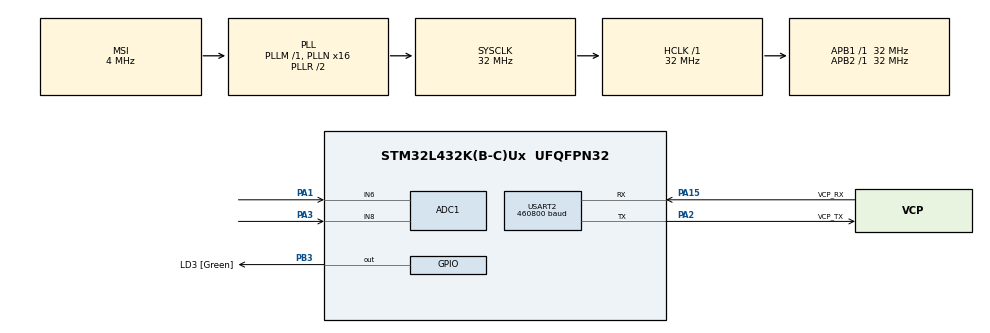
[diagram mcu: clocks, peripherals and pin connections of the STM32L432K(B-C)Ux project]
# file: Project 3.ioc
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ADC1.Channel-3\#ChannelRegularConversion=ADC_CHANNEL_6
ADC1.Channel-4\#ChannelRegularConversion=ADC_CHANNEL_8
ADC1.DMAContinuousRequests=ENABLE
ADC1.EnableAnalogWatchDog1=false
ADC1.EnableInjectedConversion=DISABLE
ADC1.EnableRegularConversion=ENABLE
ADC1.ExternalTrigConv=ADC_EXTERNALTRIG_T2_TRGO
ADC1.NbrOfConversion=2
ADC1.NbrOfConversionFlag=1
ADC1.OffsetNumber-3\#ChannelRegularConversion=ADC_OFFSET_NONE
ADC1.OffsetNumber-4\#ChannelRegularConversion=ADC_OFFSET_NONE
ADC1.OversamplingMode=ENABLE
ADC1.Rank-3\#ChannelRegularConversion=1
ADC1.Rank-4\#ChannelRegularConversion=2
ADC1.Ratio=ADC_OVERSAMPLING_RATIO_256
ADC1.RightBitShift=ADC_RIGHTBITSHIFT_4
ADC1.SamplingTime-3\#ChannelRegularConversion=ADC_SAMPLETIME_47CYCLES_5
ADC1.SamplingTime-4\#ChannelRegularConversion=ADC_SAMPLETIME_47CYCLES_5
ADC1.master=1
Dma.ADC1.0.Direction=DMA_PERIPH_TO_MEMORY
Dma.ADC1.0.Instance=DMA1_Channel1
Dma.ADC1.0.MemDataAlignment=DMA_MDATAALIGN_HALFWORD
Dma.ADC1.0.MemInc=DMA_MINC_ENABLE
Dma.ADC1.0.Mode=DMA_CIRCULAR
Dma.ADC1.0.PeriphDataAlignment=DMA_PDATAALIGN_HALFWORD
Dma.ADC1.0.PeriphInc=DMA_PINC_DISABLE
Dma.ADC1.0.Priority=DMA_PRIORITY_LOW
Dma.Request0=ADC1
Dma.Request1=USART2_TX
Dma.USART2_TX.1.Direction=DMA_MEMORY_TO_PERIPH
Dma.USART2_TX.1.Instance=DMA1_Channel7
Dma.USART2_TX.1.MemDataAlignment=DMA_MDATAALIGN_BYTE
Dma.USART2_TX.1.MemInc=DMA_MINC_ENABLE
Dma.USART2_TX.1.Mode=DMA_NORMAL
Dma.USART2_TX.1.PeriphDataAlignment=DMA_PDATAALIGN_BYTE
Dma.USART2_TX.1.PeriphInc=DMA_PINC_DISABLE
Dma.USART2_TX.1.Priority=DMA_PRIORITY_LOW
Mcu.Family=STM32L4
Mcu.Name=STM32L432K(B-C)Ux
Mcu.Package=UFQFPN32
NVIC.DMA1_Channel1_IRQn=true\:0\:0\:false\:false\:true\:false\:true\:true
NVIC.DMA1_Channel7_IRQn=true\:0\:0\:false\:false\:true\:false\:true\:true
NVIC.PriorityGroup=NVIC_PRIORITYGROUP_4
PA0.GPIO_Label=MCO [High speed clock in]
PA0.Mode=HSE-External-Clock-Source-for-LittleOrca
PA0.Signal=RCC_CK_IN
PA1.Signal=ADCx_IN6
PA13\ (JTMS-SWDIO).GPIO_Label=SWDIO
PA13\ (JTMS-SWDIO).Mode=Serial_Wire
PA13\ (JTMS-SWDIO).Signal=SYS_JTMS-SWDIO
PA14\ (JTCK-SWCLK).GPIO_Label=SWCLK
PA14\ (JTCK-SWCLK).Mode=Serial_Wire
PA14\ (JTCK-SWCLK).Signal=SYS_JTCK-SWCLK
PA15\ (JTDI).GPIO_Label=VCP_RX
PA15\ (JTDI).Mode=Asynchronous
PA15\ (JTDI).Signal=USART2_RX
PA2.GPIO_Label=VCP_TX
PA2.Mode=Asynchronous
PA2.Signal=USART2_TX
PA3.Signal=ADCx_IN8
PB3\ (JTDO-TRACESWO).GPIO_Label=LD3 [Green]
PB3\ (JTDO-TRACESWO).Signal=GPIO_Output
PC14-OSC32_IN\ (PC14).Mode=LSE-External-Oscillator
PC14-OSC32_IN\ (PC14).Signal=RCC_OSC32_IN
PC15-OSC32_OUT\ (PC15).Mode=LSE-External-Oscillator
PC15-OSC32_OUT\ (PC15).Signal=RCC_OSC32_OUT
ProjectManager.HeapSize=0x200
ProjectManager.StackSize=0x400
ProjectManager.TargetToolchain=STM32CubeIDE
RCC.ADCFreq_Value=32000000
RCC.AHBFreq_Value=32000000
RCC.APB1Freq_Value=32000000
RCC.APB1TimFreq_Value=32000000
RCC.APB2Freq_Value=32000000
RCC.APB2TimFreq_Value=32000000
RCC.CortexFreq_Value=32000000
RCC.HCLKFreq_Value=32000000
RCC.HSE_VALUE=8000000
RCC.HSI16_VALUE=16000000
RCC.HSI48_VALUE=48000000
RCC.HSI_VALUE=16000000
RCC.MSI_VALUE=4000000
RCC.PLLMUL=RCC_PLLMUL_4
RCC.PLLN=16
RCC.PLLSAI1N=16
RCC.SYSCLKFreq_VALUE=32000000
RCC.SYSCLKSource=RCC_SYSCLKSOURCE_PLLCLK
RCC.USBFreq_Value=32000000
RCC.VCOOutputFreq_Value=64000000
SH.ADCx_IN6.0=ADC1_IN6,IN6-Single-Ended
SH.ADCx_IN8.0=ADC1_IN8,IN8-Single-Ended
TIM2.Period=999
TIM2.Prescaler=31
TIM2.TIM_MasterOutputTrigger=TIM_TRGO_UPDATE
USART2.BaudRate=460800
USART2.VirtualMode-Asynchronous=VM_ASYNC
VP_TIM2_VS_ClockSourceINT.Mode=Internal
board=NUCLEO-L432KC

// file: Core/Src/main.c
/* USER CODE BEGIN Header */
/**
  ******************************************************************************
  * @file           : main.c
  * @brief          : Main program body
  ******************************************************************************
  * @attention
  *
  * Copyright (c) 2026 STMicroelectronics.
  * All rights reserved.
  *
  * This software is licensed under terms that can be found in the LICENSE file
  * in the root directory of this software component.
  * If no LICENSE file comes with this software, it is provided AS-IS.
  *
  ******************************************************************************
  */
/* USER CODE END Header */
#include "main.h"

/* USER CODE BEGIN Includes */
#include <stdio.h>
#include <string.h>
/* USER CODE END Includes */

ADC_HandleTypeDef hadc1;
DMA_HandleTypeDef hdma_adc1;

TIM_HandleTypeDef htim2;

UART_HandleTypeDef huart2;
DMA_HandleTypeDef hdma_usart2_tx;

/* USER CODE BEGIN PV */
#define ADC_CHANNELS   2u
#define DECIMATE       10u   /* 1 kHz hardware rate -> 100 Hz emit rate */

static volatile uint16_t g_adc_dma[ADC_CHANNELS];
static volatile uint32_t g_sample_idx = 0;
static volatile uint8_t  g_tx_busy    = 0;
static char              g_tx_line[48];
/* USER CODE END PV */

void SystemClock_Config(void);
static void MX_GPIO_Init(void);
static void MX_DMA_Init(void);
static void MX_USART2_UART_Init(void);
static void MX_ADC1_Init(void);
static void MX_TIM2_Init(void);

int main(void)
{

  /* MCU Configuration--------------------------------------------------------*/

  /* Reset of all peripherals, Initializes the Flash interface and the Systick. */
  HAL_Init();

  /* Configure the system clock */
  SystemClock_Config();

  /* Initialize all configured peripherals */
  MX_GPIO_Init();
  MX_DMA_Init();
  MX_USART2_UART_Init();
  MX_ADC1_Init();
  MX_TIM2_Init();
  /* USER CODE BEGIN 2 */
  HAL_NVIC_SetPriority(USART2_IRQn, 0, 0);
  HAL_NVIC_EnableIRQ(USART2_IRQn);

  HAL_ADC_Start_DMA(&hadc1, (uint32_t *)g_adc_dma, ADC_CHANNELS);
  HAL_TIM_Base_Start(&htim2);

  const char *boot = "STM32_READY|S1:0000|S2:0000\n";
  HAL_UART_Transmit(&huart2, (uint8_t *)boot, strlen(boot), HAL_MAX_DELAY);
  /* USER CODE END 2 */

  /* Infinite loop */
  while (1)
  {

  }
}

void SystemClock_Config(void)
{
  RCC_OscInitTypeDef RCC_OscInitStruct = {0};
  RCC_ClkInitTypeDef RCC_ClkInitStruct = {0};

  /** Configure the main internal regulator output voltage
  */
  if (HAL_PWREx_ControlVoltageScaling(PWR_REGULATOR_VOLTAGE_SCALE1) != HAL_OK)
  {
    Error_Handler();
  }

  /** Configure LSE Drive Capability
  */
  HAL_PWR_EnableBkUpAccess();
  __HAL_RCC_LSEDRIVE_CONFIG(RCC_LSEDRIVE_LOW);

  /** Initializes the RCC Oscillators according to the specified parameters
  * in the RCC_OscInitTypeDef structure.
  */
  RCC_OscInitStruct.OscillatorType = RCC_OSCILLATORTYPE_LSE|RCC_OSCILLATORTYPE_MSI;
  RCC_OscInitStruct.LSEState = RCC_LSE_ON;
  RCC_OscInitStruct.MSIState = RCC_MSI_ON;
  RCC_OscInitStruct.MSICalibrationValue = 0;
  RCC_OscInitStruct.MSIClockRange = RCC_MSIRANGE_6;
  RCC_OscInitStruct.PLL.PLLState = RCC_PLL_ON;
  RCC_OscInitStruct.PLL.PLLSource = RCC_PLLSOURCE_MSI;
  RCC_OscInitStruct.PLL.PLLM = 1;
  RCC_OscInitStruct.PLL.PLLN = 16;
  RCC_OscInitStruct.PLL.PLLP = RCC_PLLP_DIV7;
  RCC_OscInitStruct.PLL.PLLQ = RCC_PLLQ_DIV2;
  RCC_OscInitStruct.PLL.PLLR = RCC_PLLR_DIV2;
  if (HAL_RCC_OscConfig(&RCC_OscInitStruct) != HAL_OK)
  {
    Error_Handler();
  }

  /** Initializes the CPU, AHB and APB buses clocks
  */
  RCC_ClkInitStruct.ClockType = RCC_CLOCKTYPE_HCLK|RCC_CLOCKTYPE_SYSCLK
                              |RCC_CLOCKTYPE_PCLK1|RCC_CLOCKTYPE_PCLK2;
  RCC_ClkInitStruct.SYSCLKSource = RCC_SYSCLKSOURCE_PLLCLK;
  RCC_ClkInitStruct.AHBCLKDivider = RCC_SYSCLK_DIV1;
  RCC_ClkInitStruct.APB1CLKDivider = RCC_HCLK_DIV1;
  RCC_ClkInitStruct.APB2CLKDivider = RCC_HCLK_DIV1;

  if (HAL_RCC_ClockConfig(&RCC_ClkInitStruct, FLASH_LATENCY_1) != HAL_OK)
  {
    Error_Handler();
  }

  /** Enable MSI Auto calibration
  */
  HAL_RCCEx_EnableMSIPLLMode();
}

static void MX_ADC1_Init(void)
{

  ADC_ChannelConfTypeDef sConfig = {0};

  /** Common config
  */
  hadc1.Instance = ADC1;
  hadc1.Init.ClockPrescaler = ADC_CLOCK_ASYNC_DIV1;
  hadc1.Init.Resolution = ADC_RESOLUTION_12B;
  hadc1.Init.DataAlign = ADC_DATAALIGN_RIGHT;
  hadc1.Init.ScanConvMode = ADC_SCAN_ENABLE;
  hadc1.Init.EOCSelection = ADC_EOC_SINGLE_CONV;
  hadc1.Init.LowPowerAutoWait = DISABLE;
  hadc1.Init.ContinuousConvMode = DISABLE;
  hadc1.Init.NbrOfConversion = 2;
  hadc1.Init.DiscontinuousConvMode = DISABLE;
  hadc1.Init.ExternalTrigConv = ADC_EXTERNALTRIG_T2_TRGO;
  hadc1.Init.ExternalTrigConvEdge = ADC_EXTERNALTRIGCONVEDGE_RISING;
  hadc1.Init.DMAContinuousRequests = ENABLE;
  hadc1.Init.Overrun = ADC_OVR_DATA_PRESERVED;
  hadc1.Init.OversamplingMode = ENABLE;
  hadc1.Init.Oversampling.Ratio = ADC_OVERSAMPLING_RATIO_256;
  hadc1.Init.Oversampling.RightBitShift = ADC_RIGHTBITSHIFT_4;
  hadc1.Init.Oversampling.TriggeredMode = ADC_TRIGGEREDMODE_SINGLE_TRIGGER;
  hadc1.Init.Oversampling.OversamplingStopReset = ADC_REGOVERSAMPLING_CONTINUED_MODE;
  if (HAL_ADC_Init(&hadc1) != HAL_OK)
  {
    Error_Handler();
  }

  /** Configure Regular Channel
  */
  sConfig.Channel = ADC_CHANNEL_6;
  sConfig.Rank = ADC_REGULAR_RANK_1;
  sConfig.SamplingTime = ADC_SAMPLETIME_47CYCLES_5;
  sConfig.SingleDiff = ADC_SINGLE_ENDED;
  sConfig.OffsetNumber = ADC_OFFSET_NONE;
  sConfig.Offset = 0;
  if (HAL_ADC_ConfigChannel(&hadc1, &sConfig) != HAL_OK)
  {
    Error_Handler();
  }

  /** Configure Regular Channel
  */
  sConfig.Channel = ADC_CHANNEL_8;
  sConfig.Rank = ADC_REGULAR_RANK_2;
  if (HAL_ADC_ConfigChannel(&hadc1, &sConfig) != HAL_OK)
  {
    Error_Handler();
  }

}

static void MX_TIM2_Init(void)
{

  TIM_ClockConfigTypeDef sClockSourceConfig = {0};
  TIM_MasterConfigTypeDef sMasterConfig = {0};

  htim2.Instance = TIM2;
  htim2.Init.Prescaler = 31;
  htim2.Init.CounterMode = TIM_COUNTERMODE_UP;
  htim2.Init.Period = 999;
  htim2.Init.ClockDivision = TIM_CLOCKDIVISION_DIV1;
  htim2.Init.AutoReloadPreload = TIM_AUTORELOAD_PRELOAD_DISABLE;
  if (HAL_TIM_Base_Init(&htim2) != HAL_OK)
  {
    Error_Handler();
  }
  sClockSourceConfig.ClockSource = TIM_CLOCKSOURCE_INTERNAL;
  if (HAL_TIM_ConfigClockSource(&htim2, &sClockSourceConfig) != HAL_OK)
  {
    Error_Handler();
  }
  sMasterConfig.MasterOutputTrigger = TIM_TRGO_UPDATE;
  sMasterConfig.MasterSlaveMode = TIM_MASTERSLAVEMODE_DISABLE;
  if (HAL_TIMEx_MasterConfigSynchronization(&htim2, &sMasterConfig) != HAL_OK)
  {
    Error_Handler();
  }

}

static void MX_USART2_UART_Init(void)
{

  huart2.Instance = USART2;
  huart2.Init.BaudRate = 460800;
  huart2.Init.WordLength = UART_WORDLENGTH_8B;
  huart2.Init.StopBits = UART_STOPBITS_1;
  huart2.Init.Parity = UART_PARITY_NONE;
  huart2.Init.Mode = UART_MODE_TX_RX;
  huart2.Init.HwFlowCtl = UART_HWCONTROL_NONE;
  huart2.Init.OverSampling = UART_OVERSAMPLING_16;
  huart2.Init.OneBitSampling = UART_ONE_BIT_SAMPLE_DISABLE;
  huart2.AdvancedInit.AdvFeatureInit = UART_ADVFEATURE_NO_INIT;
  if (HAL_UART_Init(&huart2) != HAL_OK)
  {
    Error_Handler();
  }

}

static void MX_DMA_Init(void)
{

  /* DMA controller clock enable */
  __HAL_RCC_DMA1_CLK_ENABLE();

  /* DMA interrupt init */
  /* DMA1_Channel1_IRQn interrupt configuration */
  HAL_NVIC_SetPriority(DMA1_Channel1_IRQn, 0, 0);
  HAL_NVIC_EnableIRQ(DMA1_Channel1_IRQn);
  /* DMA1_Channel7_IRQn interrupt configuration */
  HAL_NVIC_SetPriority(DMA1_Channel7_IRQn, 0, 0);
  HAL_NVIC_EnableIRQ(DMA1_Channel7_IRQn);

}

static void MX_GPIO_Init(void)
{
  GPIO_InitTypeDef GPIO_InitStruct = {0};

  /* GPIO Ports Clock Enable */
  __HAL_RCC_GPIOC_CLK_ENABLE();
  __HAL_RCC_GPIOA_CLK_ENABLE();
  __HAL_RCC_GPIOB_CLK_ENABLE();

  /*Configure GPIO pin Output Level */
  HAL_GPIO_WritePin(LD3_GPIO_Port, LD3_Pin, GPIO_PIN_RESET);

  /*Configure GPIO pin : LD3_Pin */
  GPIO_InitStruct.Pin = LD3_Pin;
  GPIO_InitStruct.Mode = GPIO_MODE_OUTPUT_PP;
  GPIO_InitStruct.Pull = GPIO_NOPULL;
  GPIO_InitStruct.Speed = GPIO_SPEED_FREQ_LOW;
  HAL_GPIO_Init(LD3_GPIO_Port, &GPIO_InitStruct);

}

/* USER CODE BEGIN 4 */
void HAL_ADC_ConvCpltCallback(ADC_HandleTypeDef *hadc)
{
  if (hadc->Instance != ADC1) return;

  g_sample_idx++;
  if ((g_sample_idx % DECIMATE) != 0) return;
  if (g_tx_busy) return;

  int n = snprintf(g_tx_line, sizeof(g_tx_line),
                   "DATA|S1:%u|S2:%u\n",
                   (unsigned)g_adc_dma[0],
                   (unsigned)g_adc_dma[1]);
  if (n > 0 && n < (int)sizeof(g_tx_line)) {
    g_tx_busy = 1;
    HAL_UART_Transmit_DMA(&huart2, (uint8_t *)g_tx_line, (uint16_t)n);
  }
}

void HAL_UART_TxCpltCallback(UART_HandleTypeDef *huart)
{
  if (huart->Instance == USART2) g_tx_busy = 0;
}
/* USER CODE END 4 */

void Error_Handler(void)
{
  __disable_irq();
  while (1)
  {
  }
}
